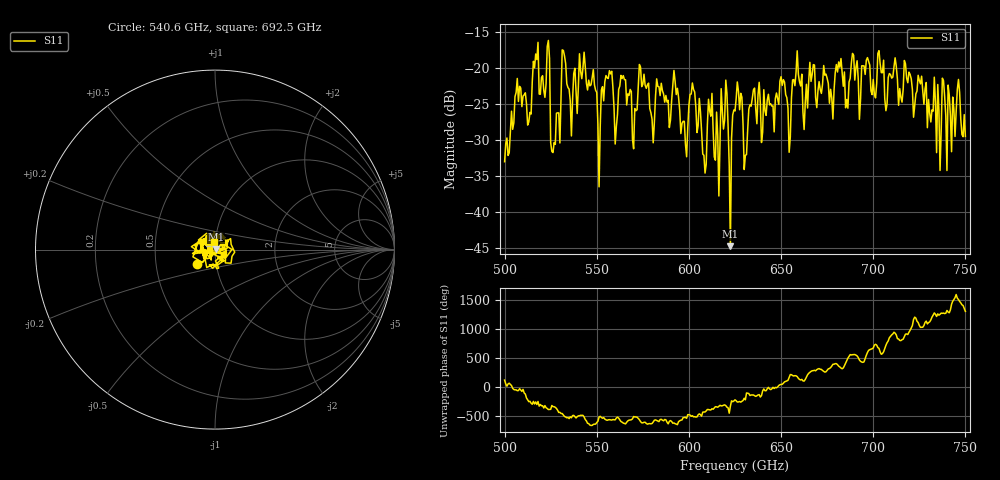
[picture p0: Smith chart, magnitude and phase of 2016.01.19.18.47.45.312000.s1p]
!Created with skrf (http://scikit-rf.org).
# GHz S RI R 50.0
!freq ReS11 ImS11
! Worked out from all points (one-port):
!   401 points, 500 GHz to 750 GHz, reference 50 ohm
!   lowest |S11| = -44.7 dB at 622.5 GHz (marker M1), VSWR 1.01, Z = 50.5 + j0.237 ohm
!   |S11| at or under -10 dB: start of sweep to end of sweep
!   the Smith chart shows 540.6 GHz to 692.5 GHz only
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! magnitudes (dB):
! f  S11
! 500 GHz  -33.0
! 506.9 GHz  -21.4
! 513.1 GHz  -27.4
! 516.9 GHz  -18.0
! 523.1 GHz  -17.0
! 526.2 GHz  -31.7
! 531.2 GHz  -17.4
! 541.9 GHz  -21.4
! 550.6 GHz  -27.7
! 562.5 GHz  -22.5
! 570.6 GHz  -25.6
! 574.4 GHz  -22.5
! 580 GHz  -27.1
! 593.8 GHz  -22.8
! 598.1 GHz  -30.5
! 602.5 GHz  -22.9
! 608.1 GHz  -32.1
! 611.2 GHz  -25.9
! 615 GHz  -26.1
! 619.4 GHz  -27.2
! 622.5 GHz  -44.7
! 625 GHz  -25.9
! 630.6 GHz  -32.1
! 634.4 GHz  -24.2
! 656.2 GHz  -21.6
! 687.5 GHz  -21.4
! 718.8 GHz  -22.0
! 750 GHz  -29.5
